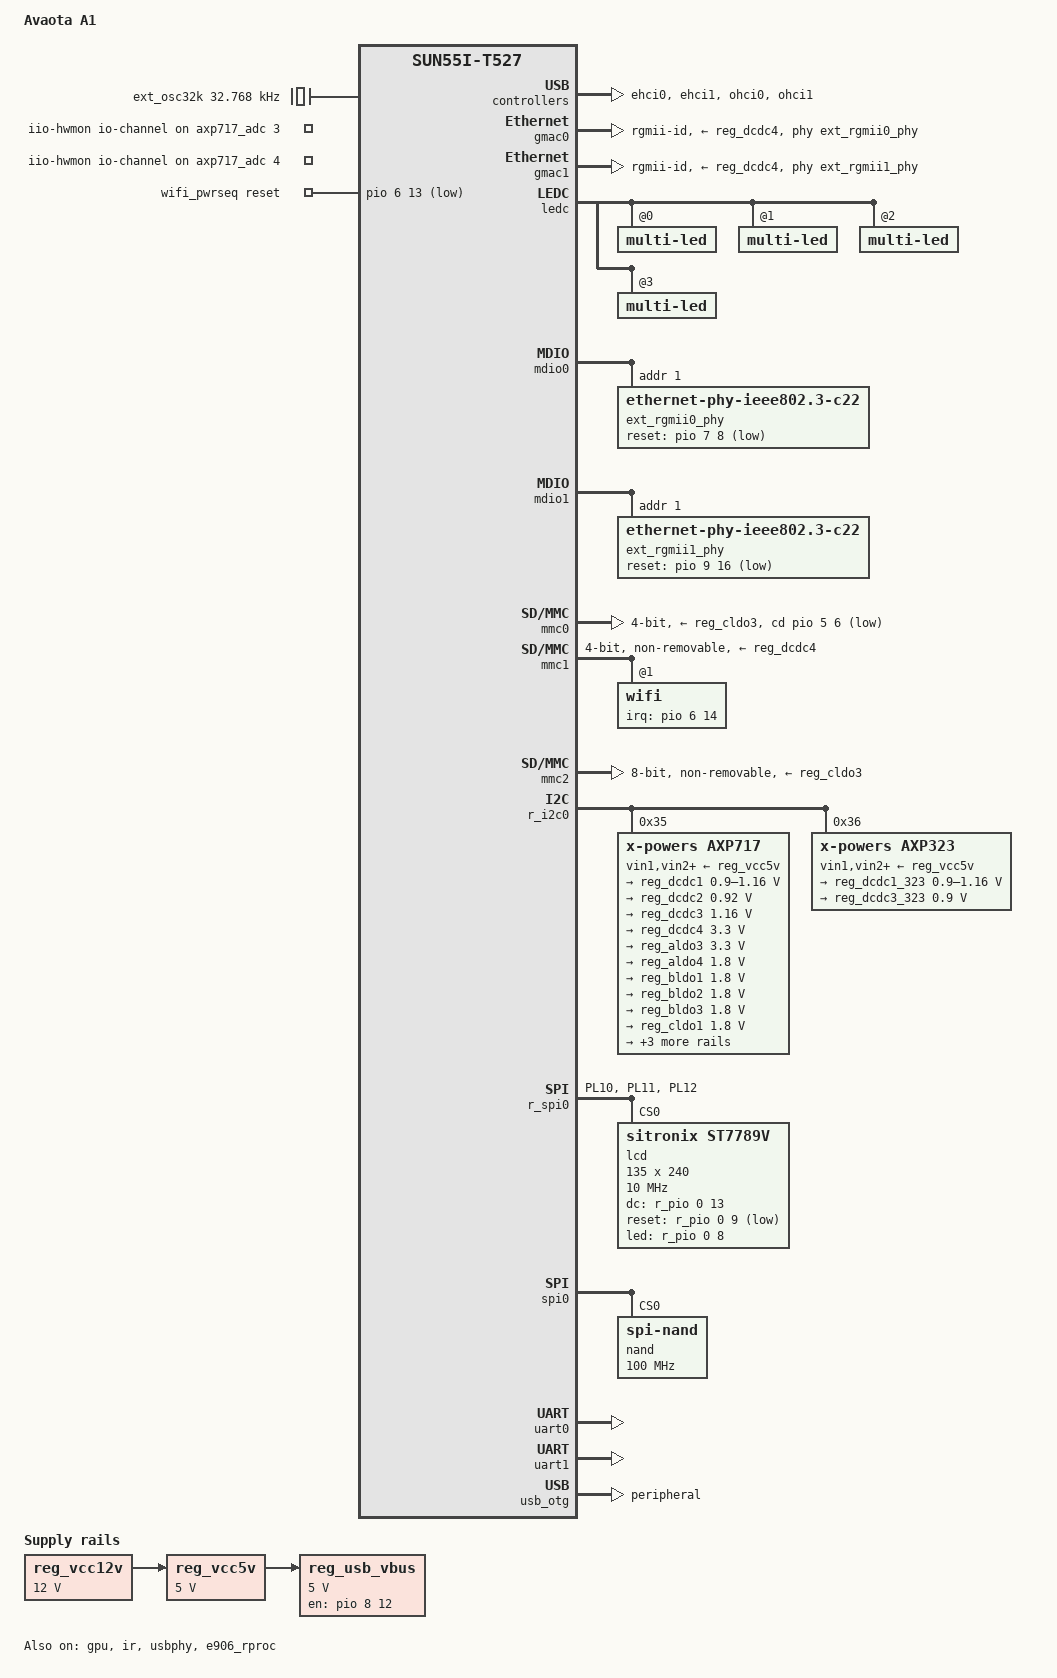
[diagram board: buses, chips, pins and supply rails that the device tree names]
// SPDX-License-Identifier: (GPL-2.0-only OR MIT)
// Copyright (C) 2024 Arm Ltd.

/dts-v1/;

#include "sun55i-a523.dtsi"

#include <dt-bindings/gpio/gpio.h>
#include <dt-bindings/interrupt-controller/irq.h>
#include <dt-bindings/leds/common.h>

/ {
	model = "Avaota A1";
	compatible = "yuzukihd,avaota-a1", "allwinner,sun55i-t527";

	aliases {
		ethernet0 = &gmac0;
		ethernet1 = &gmac1;
		serial0 = &uart0;
		serial1 = &uart1;
	};

	chosen {
		stdout-path = "serial0:115200n8";
	};

	reserved-memory {
		#address-cells = <2>;
		#size-cells = <2>;
		ranges;

		riscvsram0_reserved: riscvsram0@7280000 {
			reg = <0x0 0x07280000 0x0 0x40000>;
			no-map;
		};

		riscvsram1_reserved: riscvsram1@72c0000 {
			reg = <0x0 0x072c0000 0x0 0x40000>;
			no-map;
		};

		e906_dram_reserved: e906_dram@60000000 {
			reg = <0x0 0x60000000 0x0 0xa00000>;
			no-map;
		};

		rv_vdev0buffer: vdev0buffer@4ae00000 {
			compatible = "shared-dma-pool";
			reg = <0x0 0x4ae00000 0x0 0x40000>;
			no-map;
		};

		rv_vdev0vring0: vdev0vring0@4ae40000 {
			reg = <0x0 0x4ae40000 0x0 0x2000>;
			no-map;
		};

		rv_vdev0vring1: vdev0vring1@4ae42000 {
			reg = <0x0 0x4ae42000 0x0 0x2000>;
			no-map;
		};
	};

	ext_osc32k: ext-osc32k-clk {
		#clock-cells = <0>;
		compatible = "fixed-clock";
		clock-frequency = <32768>;
		clock-output-names = "ext_osc32k";
	};

	iio-hwmon {
		compatible = "iio-hwmon";
		io-channels = <&axp717_adc 3>, /* vsys_v */
			      <&axp717_adc 4>; /* pmic_temp */
	};

	reg_vcc12v: vcc12v {
		/* DC input jack */
		compatible = "regulator-fixed";
		regulator-name = "vcc-12v";
		regulator-min-microvolt = <12000000>;
		regulator-max-microvolt = <12000000>;
		regulator-always-on;
	};

	reg_vcc5v: vcc5v {
		/* board wide 5V supply from the 12V->5V regulator */
		compatible = "regulator-fixed";
		regulator-name = "vcc-5v";
		regulator-min-microvolt = <5000000>;
		regulator-max-microvolt = <5000000>;
		vin-supply = <&reg_vcc12v>;
		regulator-always-on;
	};

	reg_usb_vbus: vbus {
		compatible = "regulator-fixed";
		regulator-name = "usb-vbus";
		regulator-min-microvolt = <5000000>;
		regulator-max-microvolt = <5000000>;
		vin-supply = <&reg_vcc5v>;
		gpio = <&pio 8 12 GPIO_ACTIVE_HIGH>;	/* PI12 */
		enable-active-high;
	};

	wifi_pwrseq: wifi-pwrseq {
		compatible = "mmc-pwrseq-simple";
		reset-gpios = <&pio 6 13 GPIO_ACTIVE_LOW>;	/* PG13 WL-REG-ON */
		post-power-on-delay-ms = <200>;
	};
};

&ehci0 {
	status = "okay";
};

&ehci1 {
	status = "okay";
};

&gmac0 {
	phy-mode = "rgmii-id";
	phy-handle = <&ext_rgmii0_phy>;
	phy-supply = <&reg_dcdc4>;

	allwinner,tx-delay-ps = <100>;
	allwinner,rx-delay-ps = <300>;

	status = "okay";
};

&gmac1 {
	phy-mode = "rgmii-id";
	phy-handle = <&ext_rgmii1_phy>;
	phy-supply = <&reg_dcdc4>;

	tx-internal-delay-ps = <100>;
	rx-internal-delay-ps = <100>;

	status = "okay";
};

&gpu {
	mali-supply = <&reg_dcdc2>;
	status = "okay";
};

&ir {
	pinctrl-names = "default";
	pinctrl-0 = <&ir_rx_pin>;
	status = "okay";
};

&ledc {
	pinctrl-names = "default";
	pinctrl-0 = <&ledc_ph_pin>;
	allwinner,pixel-format = "grb";
	allwinner,t0l-ns = <800>;
	allwinner,t0h-ns = <300>;
	allwinner,t1l-ns = <320>;
	allwinner,t1h-ns = <800>;
	allwinner,treset-ns = <84>;
	status = "okay";

	multi-led@0 {
		reg = <0x0>;
		color = <LED_COLOR_ID_RGB>;
		function = LED_FUNCTION_INDICATOR;
		function-enumerator = <0>;
	};

	multi-led@1 {
		reg = <0x1>;
		color = <LED_COLOR_ID_RGB>;
		function = LED_FUNCTION_INDICATOR;
		function-enumerator = <1>;
	};

	multi-led@2 {
		reg = <0x2>;
		color = <LED_COLOR_ID_RGB>;
		function = LED_FUNCTION_INDICATOR;
		function-enumerator = <2>;
	};

	multi-led@3 {
		reg = <0x3>;
		color = <LED_COLOR_ID_RGB>;
		function = LED_FUNCTION_INDICATOR;
		function-enumerator = <3>;
	};
};

&mdio0 {
	ext_rgmii0_phy: ethernet-phy@1 {
		compatible = "ethernet-phy-ieee802.3-c22";
		reg = <1>;
		reset-gpios = <&pio 7 8 GPIO_ACTIVE_LOW>; /* PH8 */
		reset-assert-us = <10000>;
		reset-deassert-us = <150000>;
	};
};

&mdio1 {
	ext_rgmii1_phy: ethernet-phy@1 {
		compatible = "ethernet-phy-ieee802.3-c22";
		reg = <1>;
		reset-gpios = <&pio 9 16 GPIO_ACTIVE_LOW>; /* PJ16 */
		reset-assert-us = <10000>;
		reset-deassert-us = <150000>;
	};
};

&mmc0 {
	vmmc-supply = <&reg_cldo3>;
	cd-gpios = <&pio 5 6 (GPIO_ACTIVE_LOW | GPIO_PULL_UP)>; /* PF6 */
	bus-width = <4>;
	status = "okay";
};

&mmc1 {
	bus-width = <4>;
	max-frequency = <40000000>;
	mmc-pwrseq = <&wifi_pwrseq>;
	non-removable;
	pinctrl-names = "default";
	pinctrl-0 = <&mmc1_pins>;
	vmmc-supply = <&reg_dcdc4>;
	vqmmc-supply = <&reg_bldo1>;
	status = "okay";

	wifi@1 {
		reg = <1>;
		interrupt-parent = <&pio>;
		interrupts = <6 14 IRQ_TYPE_LEVEL_LOW>;	/* PG14 WL-WAKE-AP */
		interrupt-names = "host-wake";
	};
};

&mmc2 {
	bus-width = <8>;
	cap-mmc-hw-reset;
	mmc-ddr-1_8v;
	mmc-hs200-1_8v;
	non-removable;
	vmmc-supply = <&reg_cldo3>;
	vqmmc-supply = <&reg_cldo1>;
	status = "okay";
};

&ohci0 {
	status = "okay";
};

&ohci1 {
	status = "okay";
};

&pio {
	vcc-pb-supply = <&reg_cldo3>;	/* via VCC-IO */
	vcc-pc-supply = <&reg_cldo1>;
	vcc-pd-supply = <&reg_dcdc4>;
	vcc-pe-supply = <&reg_dcdc4>;
	vcc-pf-supply = <&reg_cldo3>;	/* actually switchable */
	vcc-pg-supply = <&reg_bldo1>;
	vcc-ph-supply = <&reg_cldo3>;	/* via VCC-IO */
	vcc-pi-supply = <&reg_dcdc4>;
	vcc-pj-supply = <&reg_dcdc4>;
	vcc-pk-supply = <&reg_bldo3>;
};

&r_i2c0 {
	status = "okay";

	axp717: pmic@35 {
		compatible = "x-powers,axp717";
		reg = <0x35>;
		interrupt-controller;
		#interrupt-cells = <1>;
		interrupt-parent = <&nmi_intc>;
		interrupts = <0 IRQ_TYPE_LEVEL_LOW>;

		vin1-supply = <&reg_vcc5v>;
		vin2-supply = <&reg_vcc5v>;
		vin3-supply = <&reg_vcc5v>;
		vin4-supply = <&reg_vcc5v>;
		aldoin-supply = <&reg_vcc5v>;
		bldoin-supply = <&reg_vcc5v>;
		cldoin-supply = <&reg_vcc5v>;

		axp717_adc: adc {
			compatible = "x-powers,axp717-adc";
			#io-channel-cells = <1>;
		};

		battery-power {
			compatible = "x-powers,axp717-battery-power-supply";
			/* no battery; output used for dcdc4 instead */
			status = "disabled";
		};

		regulators {
			/* Supplies the "little" cluster (1.4 GHz cores) */
			reg_dcdc1: dcdc1 {
				regulator-always-on;
				regulator-min-microvolt = <900000>;
				regulator-max-microvolt = <1160000>;
				regulator-name = "vdd-cpul";
			};

			reg_dcdc2: dcdc2 {
				regulator-always-on;
				regulator-min-microvolt = <920000>;
				regulator-max-microvolt = <920000>;
				regulator-name = "vdd-gpu-sys";
			};

			reg_dcdc3: dcdc3 {
				regulator-always-on;
				regulator-min-microvolt = <1160000>;
				regulator-max-microvolt = <1160000>;
				regulator-name = "vdd-dram";
			};

			reg_dcdc4: dcdc4 {
				regulator-always-on;
				regulator-min-microvolt = <3300000>;
				regulator-max-microvolt = <3300000>;
				regulator-name = "vdd-io";
			};

			reg_aldo1: aldo1 {
				/* not connected */
			};

			reg_aldo2: aldo2 {
				/* not connected */
			};

			reg_aldo3: aldo3 {
				/* supplies the I2C pins for this PMIC */
				regulator-always-on;
				regulator-min-microvolt = <3300000>;
				regulator-max-microvolt = <3300000>;
				regulator-name = "vcc-pl-pm";
			};

			reg_aldo4: aldo4 {
				regulator-always-on;
				regulator-min-microvolt = <1800000>;
				regulator-max-microvolt = <1800000>;
				regulator-name = "vcc-pll-dxco-avcc";
			};

			reg_bldo1: bldo1 {
				/* VCC-PG (PG port) + VCCIO-WIFI (AIC8800 VDDIO + BT pull-ups) */
				regulator-always-on;
				regulator-min-microvolt = <1800000>;
				regulator-max-microvolt = <1800000>;
				regulator-name = "vcc-pg-wifi-lvds";
			};

			reg_bldo2: bldo2 {
				regulator-always-on;
				regulator-min-microvolt = <1800000>;
				regulator-max-microvolt = <1800000>;
				regulator-name = "vcc-dram-1v8";
			};

			reg_bldo3: bldo3 {
				regulator-min-microvolt = <1800000>;
				regulator-max-microvolt = <1800000>;
				regulator-name = "vcc-cvp-pk-vid1v8";
			};

			reg_bldo4: bldo4 {
				/* not connected */
			};

			reg_cldo1: cldo1 {
				regulator-min-microvolt = <1800000>;
				regulator-max-microvolt = <1800000>;
				regulator-name = "vcc-pc";
			};

			reg_cldo2: cldo2 {
				regulator-min-microvolt = <1800000>;
				regulator-max-microvolt = <1800000>;
				regulator-name = "vcc-efuse";
			};

			reg_cldo3: cldo3 {
				regulator-min-microvolt = <3300000>;
				regulator-max-microvolt = <3300000>;
				regulator-name = "vcc-io-mmc-spi-ana";
			};

			reg_cldo4: cldo4 {
				/* not connected */
			};

			reg_cpusldo: cpusldo {
				/* supplies the management core */
				regulator-always-on;
				regulator-min-microvolt = <900000>;
				regulator-max-microvolt = <900000>;
				regulator-name = "vdd-cpus";
			};
		};

		usb-power {
			compatible = "x-powers,axp717-usb-power-supply";
			/* 12V-5V buck converter can supply up to 5A */
			input-current-limit-microamp = <3250000>;
		};
	};

	axp323: pmic@36 {
		compatible = "x-powers,axp323";
		reg = <0x36>;
		#interrupt-cells = <1>;
		interrupt-controller;
		interrupt-parent = <&nmi_intc>;
		interrupts = <0 IRQ_TYPE_LEVEL_LOW>;
		status = "okay";

		vin1-supply = <&reg_vcc5v>;
		vin2-supply = <&reg_vcc5v>;
		vin3-supply = <&reg_vcc5v>;

		regulators {
			aldo1 {
				/* not connected */
			};

			dldo1 {
				/* not connected */
			};

			/* Supplies the "big" cluster (1.8 GHz cores) */
			reg_dcdc1_323: dcdc1 {
				regulator-always-on;
				regulator-min-microvolt = <900000>;
				regulator-max-microvolt = <1160000>;
				regulator-name = "vdd-cpub";
			};

			/* DCDC2 is polyphased with DCDC1 */

			/* Some RISC-V management core related voltage */
			reg_dcdc3_323: dcdc3 {
				regulator-always-on;
				regulator-min-microvolt = <900000>;
				regulator-max-microvolt = <900000>;
				regulator-name = "vdd-dnr";
			};
		};
	};
};

&r_pio {
/*
 * Specifying the supply would create a circular dependency.
 *
 *	vcc-pl-supply = <&reg_aldo3>;
 */
	vcc-pm-supply = <&reg_aldo3>;

	r_spi0_lcd_pins: r-spi0-lcd-pins {
		pins = "PL10", "PL11", "PL12";
		function = "s_spi0";
		allwinner,pinmux = <6>;
	};
};

&rtc {
	clocks = <&r_ccu CLK_BUS_R_RTC>, <&osc24M>,
		 <&r_ccu CLK_R_AHB>, <&ext_osc32k>;
	clock-names = "bus", "hosc", "ahb", "ext-osc32k";
	assigned-clocks = <&rtc CLK_OSC32K>;
	assigned-clock-rates = <32768>;
};

&r_spi0 {
	/*
	 * The mcu_dma controller cannot serve the R-domain SPI0 (the
	 * dmaengine_prep_slave_sg call fails with -EINVAL), so drop the
	 * RX channel to keep the driver in PIO mode.
	 */
	dmas = <&mcu_dma 13>;
	dma-names = "tx";
	pinctrl-names = "default";
	pinctrl-0 = <&r_spi0_lcd_pins>;
	status = "okay";

	lcd: st7789v@0 {
		compatible = "sitronix,st7789v";
		reg = <0>;
		spi-max-frequency = <10000000>;
		dc-gpios = <&r_pio 0 13 GPIO_ACTIVE_HIGH>;
		reset-gpios = <&r_pio 0 9 GPIO_ACTIVE_LOW>;
		led-gpios = <&r_pio 0 8 GPIO_ACTIVE_HIGH>;
		width = <135>;
		height = <240>;
		buswidth = <8>;
		rotate = <90>;
		bgr;
	};
};

&spi0  {
	pinctrl-names = "default";
	pinctrl-0 = <&spi0_pj_pins>, <&spi0_cs0_pj_pin>,
		    <&spi0_hold_pj_pin>, <&spi0_wp_pj_pin>;
	status = "okay";

	nand@0 {
		compatible = "spi-nand";
		reg = <0>;
		spi-max-frequency = <100000000>;
		spi-rx-bus-width = <4>;
		spi-tx-bus-width = <4>;
	};
};

&uart0 {
	pinctrl-names = "default";
	pinctrl-0 = <&uart0_pb_pins>;
	status = "okay";
};

&uart1 {
	pinctrl-names = "default";
	pinctrl-0 = <&uart1_pins>, <&uart1_rts_cts_pins>;
	uart-has-rtscts;
	status = "okay";

	bluetooth {
		/* aic8800-bt */
		shutdown-gpios = <&pio 6 12 GPIO_ACTIVE_LOW>;	/* PG12 BT-RESETN */
		host-wakeup-gpios = <&pio 6 10 GPIO_ACTIVE_HIGH>;	/* PG10 BT-HOST-WAKE */
		device-wakeup-gpios = <&pio 6 11 GPIO_ACTIVE_HIGH>;	/* PG11 AP-WAKE-BT */
	};
};

&usb_otg {
	 /*
	  * The CC pins of the USB-C port have two pull-down resistors
	  * connected to GND, which fixes this port to a peripheral role.
	  * There is a regulator, controlled by a GPIO, to provide VBUS power
	  * to the port, and a VBUSDET GPIO, to detect externally provided
	  * power, but without the CC pins there is no real way to do a
	  * runtime role detection.
	  */
	dr_mode = "peripheral";
	status = "okay";
};

&usbphy {
	usb0_vbus-supply = <&reg_usb_vbus>;
	usb0_vbus_det-gpios = <&pio 8 13 GPIO_ACTIVE_HIGH>; /* PI13 */
	status = "okay";
};

&e906_rproc {
	mboxes = <&msgbox 8>, <&msgbox 10>;
	mbox-names = "arm-kick", "arm-standby";
	memory-region = <&riscvsram0_reserved>, <&riscvsram1_reserved>,
			<&rv_vdev0buffer>, <&rv_vdev0vring0>,
			<&rv_vdev0vring1>, <&e906_dram_reserved>;
	memory-mappings =
		/* < DA		len		PA >	*/
		/* DSP RAM */
		< 0x20000	0x20000		0x20000 >,
		/* SRAM A2 */
		< 0x40000	0x24000		0x40000 >,
		/* DDR */
		< 0x8000000	0x37f00000	0x8000000 >,
		/* SRAM SPACE 0 */
		< 0x3ffc0000	0x40000		0x07280000 >,
		/* SRAM SPACE 1 */
		< 0x40000000	0x40000		0x072c0000 >,
		/* DRAM SPACE */
		< 0x40040000	0x3ffc0000	0x40040000 >;
	status = "okay";
};
